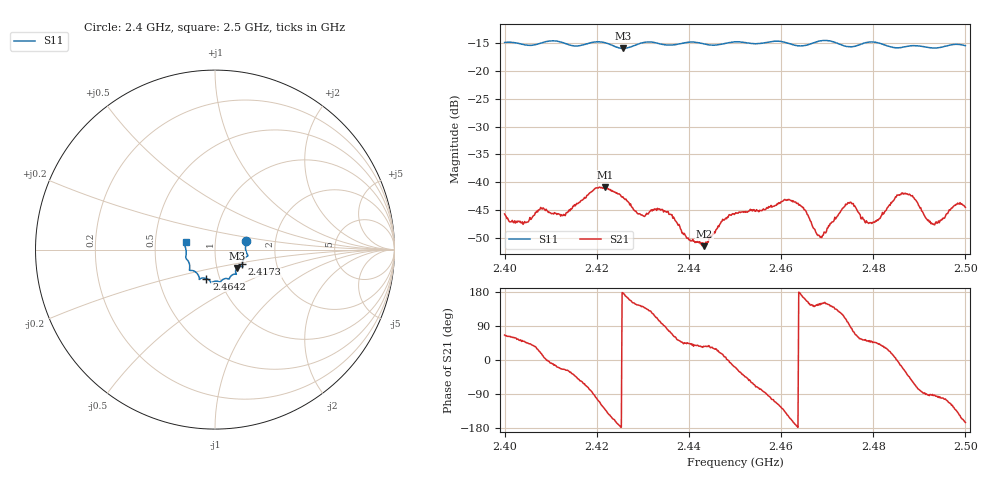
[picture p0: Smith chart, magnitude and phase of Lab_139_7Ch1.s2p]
# Hz S RI R 50
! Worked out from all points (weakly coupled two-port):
!   601 points, 2.4 GHz to 2.5 GHz, reference 50 ohm
!   highest |S21| = -40.88 dB at 2.4218 GHz (marker M1); lowest = -51.5 dB at 2.4433 GHz (marker M2)
!   lowest |S11| = -15.9 dB at 2.4257 GHz (marker M3), VSWR 1.38, Z = 62.4 - j13.1 ohm
!   |S11| at or under -10 dB: start of sweep to end of sweep
!   S12 and S22 are empty: the file has one direction only
!   S11 on the Smith chart (normalised r, x): 2.4 GHz: 1.41, +0.14; 2.4173 GHz: 1.34, -0.23; 2.4642 GHz: 0.86, -0.29; 2.5 GHz: 0.72, +0.06
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2.4e9  0.1739 0.0492  0.00211 0.00471  0 0  0 0
2.4045e9  0.1705 0.019  0.00297 0.00312  0 0  0 0
2.407833e9  0.177 -0.0198  0.00561 0.00185  0 0  0 0
2.412667e9  0.1758 -0.0389  0.00454 -0.00206  0 0  0 0
2.416667e9  0.1528 -0.0747  0.0038 -0.00569  0 0  0 0
2.417333e9  0.1522 -0.0821  0.00337 -0.00645  0 0  0 0
2.421833e9  0.1524 -0.0952  -0.00594 -0.00681  0 0  0 0
2.425667e9  0.1221 -0.1027  -0.00736 0.000384  0 0  0 0
2.43e9  0.1177 -0.1361  -0.00387 0.00315  0 0  0 0
2.433333e9  0.1126 -0.1364  -0.00163 0.0055  0 0  0 0
2.443333e9  0.0674 -0.1612  0.00215 0.00155  0 0  0 0
2.45e9  0.0293 -0.1808  0.00491 -0.00166  0 0  0 0
2.461167e9  -0.0262 -0.1778  -0.00534 -0.00428  0 0  0 0
2.464167e9  -0.0482 -0.161  -0.00614 0.000483  0 0  0 0
2.466667e9  -0.0763 -0.1595  -0.00345 0.00232  0 0  0 0
2.468667e9  -0.087 -0.1656  -0.00277 0.00164  0 0  0 0
2.4745e9  -0.1017 -0.1307  -0.00112 0.00643  0 0  0 0
2.479333e9  -0.1419 -0.1149  0.00293 0.00315  0 0  0 0
2.483333e9  -0.1406 -0.0897  0.00553 0.00253  0 0  0 0
2.488e9  -0.1604 -0.051  0.00512 -0.00574  0 0  0 0
2.493e9  -0.1606 -0.0139  -0.000273 -0.0042  0 0  0 0
2.5e9  -0.1638 0.0415  -0.00571 -0.00155  0 0  0 0
